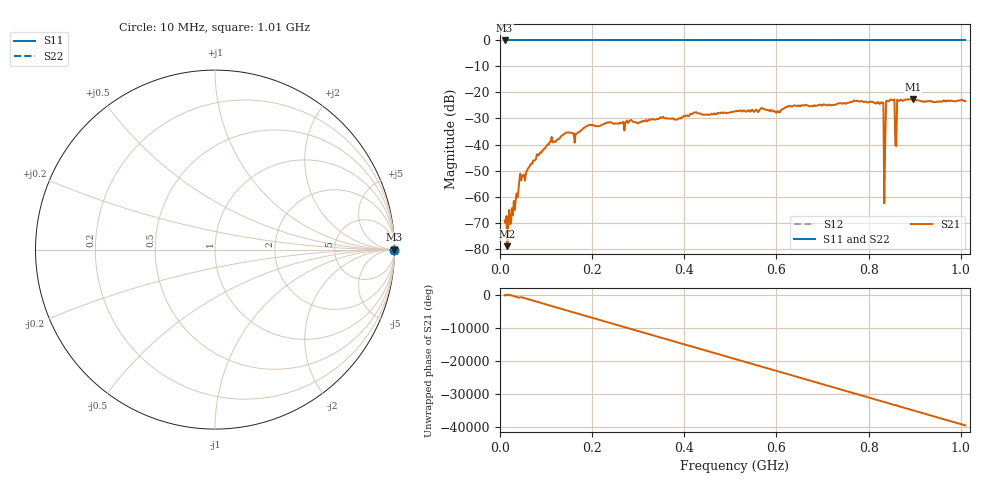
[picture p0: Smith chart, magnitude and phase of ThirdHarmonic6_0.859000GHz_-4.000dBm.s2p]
! 8/16/2025 4:23:47 AM
! C:\ANRITSUVNA\TEMP\TEMP.S2P
! CHANNEL.1
! TR.MEASUREMENT
! RAW.DATA
! RF.CORRECTION.OFF
! AVERAGING.OFF
! IF.BANDWIDTH: 5KHZ
! SWEEPTYPE:  FREQ.SWEEP(Linear)
! Reference Plane Port Info
! PORT:  PORT1  PORT2
! DISTANCE:  0  m  0  m
! TIME:  0  s  0  s
! PHASE.OFFSET:  0  deg.  0  deg.
! LOSS:  0  dB  0  dB
! REF.LOSS:  0  dB  0  dB
! REF.FREQ:  0  Hz  0  Hz
! Power Info
! POWER:  -20  dBm  -20  dBm
! EFF.POWER:  -20  dBm  -20  dBm
! SOURCE.ATTEN:  0  dB  0  dB
! TEST.ATTEN:  0  dB  0  dB
# GHZ S RI R 50.0
! FREQ.GHZ  S11RE  S11IM  S21RE  S21IM  S12RE  S12IM  S22RE  S22IM
!; PortSelection: Port_12
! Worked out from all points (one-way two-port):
!   501 points, 10 MHz to 1.01 GHz, reference 50 ohm
!   highest |S21| = -22.57 dB at 896 MHz (marker M1); lowest = -79.1 dB at 16 MHz (marker M2)
!   lowest |S11| = 0.0 dB at 10 MHz (marker M3)
!   |S11| at or under -10 dB: nowhere
!   |S22| runs from 0.0 to 0.0 dB; largest |S21 - S12| = 1.1
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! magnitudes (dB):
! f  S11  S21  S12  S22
! 10 MHz  0.0  -69.2  0.0  0.0
! 16 MHz  0.0  -79.1  0.0  0.0
! 20 MHz  0.0  -65.1  0.0  0.0
! 46 MHz  0.0  -53.8  0.0  0.0
! 84 MHz  0.0  -44.2  0.0  0.0
! 108 MHz  0.0  -39.1  0.0  0.0
! 178 MHz  0.0  -34.3  0.0  0.0
! 344 MHz  0.0  -30.2  0.0  0.0
! 510 MHz  0.0  -27.2  0.0  0.0
! 678 MHz  0.0  -25.3  0.0  0.0
! 828 MHz  0.0  -23.8  0.0  0.0
! 830 MHz  0.0  -24.0  0.0  0.0
! 832 MHz  0.0  -23.9  0.0  0.0
! 838 MHz  0.0  -23.3  0.0  0.0
! 840 MHz  0.0  -23.2  0.0  0.0
! 844 MHz  0.0  -23.4  0.0  0.0
! 852 MHz  0.0  -23.0  0.0  0.0
! 856 MHz  0.0  -22.7  0.0  0.0
! 862 MHz  0.0  -22.7  0.0  0.0
! 866 MHz  0.0  -23.3  0.0  0.0
! 896 MHz  0.0  -22.6  0.0  0.0
! 1.01 GHz  0.0  -23.3  0.0  0.0
